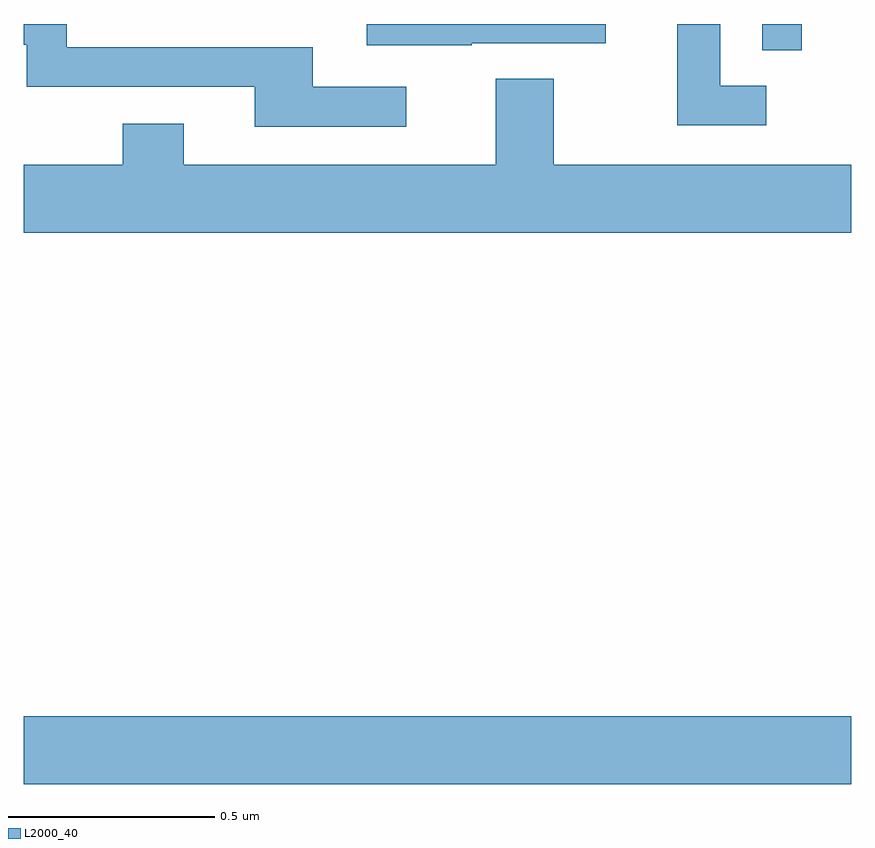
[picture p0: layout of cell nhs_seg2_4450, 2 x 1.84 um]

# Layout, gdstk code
import gdstk
lib = gdstk.Library(unit=1e-6, precision=1e-09)
def R(c, l, rs):  # rectangles x0, y0, x1, y1
    for r in rs: c.add(gdstk.rectangle(r[:2], r[2:], *l))
def P(c, l, *ps):  # polygons
    for p in ps: c.add(gdstk.Polygon(p, *l))
L2000_40 = (2000, 40)

nhs_seg2_4450 = lib.new_cell('nhs_seg2_4450')
R(nhs_seg2_4450, L2000_40, [(166,652.964,168,653.128), (167.784,654.736,167.88,654.8)])
P(nhs_seg2_4450, L2000_40, [(166.924,654.648),(166.699,654.648),(166.699,654.744),(166.104,654.744),(166.104,654.8),(166,654.8),(166,654.75),(166.008,654.75),(166.008,654.648),(166.559,654.648),(166.559,654.552),(166.924,654.552)],
  [(167.083,654.753),(167.407,654.753),(167.407,654.8),(166.829,654.8),(166.829,654.749),(167.083,654.749)],
  [(167.794,654.651),(167.683,654.651),(167.683,654.8),(167.579,654.8),(167.579,654.555),(167.794,654.555)],
  [(168,654.46),(167.281,654.46),(167.281,654.668),(167.141,654.668),(167.141,654.46),(166.387,654.46),(166.387,654.559),(166.24,654.559),(166.24,654.46),(166,654.46),(166,654.296),(168,654.296)])

lib.write_gds('nhs_seg2_4450.gds')
